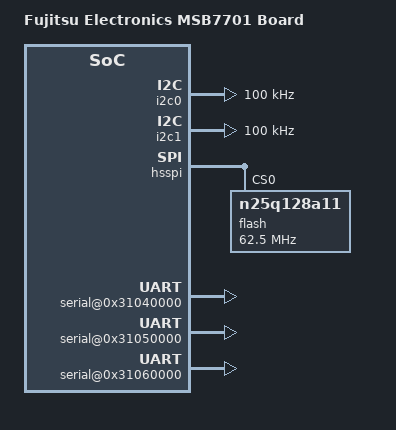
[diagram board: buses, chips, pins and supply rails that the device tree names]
/*
 * Copyright (C) 2016 Fujitsu Electronics Inc.
 *
 * This program is free software; you can redistribute it and/or modify
 * it under the terms of the GNU General Public License version 2 as
 * published by the Free Software Foundation.
 */

/dts-v1/;
#include <dt-bindings/gpio/gpio.h>
#include <dt-bindings/thermal/thermal.h>

#include "mb86s71.dtsi"

// #include "msb7701-mipi.dtsi"
// #include "msb7701-i2s.dtsi"
// #include "msb7701-hsspi.dtsi"


/ {
	model = "Fujitsu Electronics MSB7701 Board";
	compatible = "fujitsu,mb86s71";

	memory {
		device_type = "memory";
		reg = <0 0x80000000 0x80000000>;
	};

	chosen {
		bootargs = "shm_offset=2048 loglevel=4 console=ttyAMA0,115200 root=/dev/mmcblk0p1 rootfstype=ext4 rootwait rw pcie_ports=native ";

		linux,initrd-start = <0x88000000>;
		linux,initrd-end =   <0x88800000>;
		/* Backward compatibility for 2016.03-1-1 */
		/* linux,initrd-start = <0xc0000000>; */
		/* linux,initrd-end =   <0xc0800000>; */
	};

	gpio0: mb86s70_gpio0 {
		compatible = "fujitsu,mb86s70-gpio";
		reg = <0 0x31000000 0x10000>;
		gpio-controller;
		#gpio-cells = <2>;
		clocks = <&clk_alw_5_8>;
		base = <0>;
		resume_function_enabled = <12>, <13> , <14>, <15>, <29>;
		power-domains = <&power 1>;
	};

	gpio1: mb86s70_gpio1 {
		compatible = "fujitsu,mb86s70-gpio";
		reg = <0 0x31010000 0x10000>;
		gpio-controller;
		#gpio-cells = <2>;
		clocks = <&clk_alw_5_8>;
		base = <32>;
		resume_function_enabled = <32>, <33>, <34>, <35>, <36>, <37>, <38>, <39>, <40>, <41>, <42>, <43>, <46>;
		power-domains = <&power 1>;
	};

	i2c0 {
		compatible = "fujitsu,f_i2c";
		reg = <0 0x31200000 0x10000>;
		interrupts = <0 312 0x4>;
		#address-cells = <1>;
		#size-cells = <0>;
		clock-frequency = <100000>;
		clocks = <&clk_alw_5_8>;
		power-domains = <&power 1>;
	};

	i2c1 {
		compatible = "fujitsu,f_i2c";
		reg = <0 0x31210000 0x10000>;
		interrupts = <0 313 0x4>;
		#address-cells = <1>;
		#size-cells = <0>;
		clock-frequency = <100000>;
		clocks = <&clk_alw_5_8>;
		power-domains = <&power 1>;
	};

	hsspi: hsspi.0 {
		compatible = "fujitsu,mb86s7x-hsspi";
		reg = <0 0x30010000 0x1000>,
		      <0 0x48000000 0x1000000>;
		interrupts = <0 361 0x4>,
			     <0 360 0x4>,
			     <0 362 0x4>;
		mode = <1>; // HS_SPI_DIRECT_MODE
		read_operation = <1>; // HS_SPI_NORMAL_READ
		write_operation = <5>; // HS_SPI_NORMAL_WRITE
		active_clk_edges;
		bank_size = <0x01000000>;	// 16MB flash bank
		num_chipselect = <2>;
		addr_width = <3>;
		dma_rx_dreq = <0x800000>; // XDDES_TF_DREQ6 !!! GUESSED
		dma_tx_dreq = <0x900000>; // XDDES_TF_DREQ7 !!! GUESSED
		dma_channel = <0>;
		sync_on = <1>;
		clock = <0>; // HS_SPI_HCLK
		clocks = <&clk_alw_1_8>, <&clk_main_6_8>;
		clock-names = "iHCLK", "iPCLK";
		#address-cells = <1>;
		#size-cells = <0>;

		flash@0 {
			compatible = "n25q128a11";
			spi-max-frequency = <62500000>;
			spi-rx-bus-width = <4>;
			spi-tx-bus-width = <4>;
			reg = <0>;
			spi-cpha;
			spi-cpol;
			#address-cells = <1>;
			#size-cells = <1>;

			spipart0@0 {
				label = "scb-spi-firmware";
				reg = <0 0x200000>;
			};

			spipart1@1 {
				label = "spi-romfs";
				reg = <0x200000 0x100000>;
			};

			spipart2@2 {
				label = "spi-user0";
				reg = <0x300000 0xd00000>;
			};
		};
	};

	/* Enable UART0/1/2 of MSB7701 Board */
	serial@0x31040000 {
		status = "okay";
	};
	serial@0x31050000 {
		status = "okay";
	};
	serial@0x31060000 {
		status = "okay";
	};

	timer0: timer0@31080000 {
		#clock-cells = <1>;
		compatible = "arm,sp804";
		reg = <0 0x31080000 0x10000>;
		interrupts = <0 324 4>,
			     <0 325 4>;
		clocks = <&clk_alw_6_8>;
	};

	timer {
		compatible = "arm,armv7-timer";
		clock-frequency = <125000000>;
		interrupts = <1 13 0xf08>, /* PHYS Secure */
			     <1 14 0xf08>; /* PHYS Non-Secure */
	};
};

/* Video Port Selection */

/*
 These statuses are configured by boot loader automatically if "auto".
 If NOT "auto", the status is never changed by boot loader.
 Don't activate both MIPI-DSI Type and HDMI Type video ports simultaneously.
*/

&videophy0 { /* MIPI-DSI Type Video PHY configuration */
	status = "auto";
	/* "okay":	MIPI-DSI Type video activated */
	/* "disabled":	MIPI-DSI Type video disabled */
	/* "auto":	Selected MIPI-DSI Type or HDMI Type by boot loader */
};

&videophy1 { /* HDMI Type Video PHY configuration */
	status = "auto";
	/* "okay":	HDMI Type video activated */
	/* "disabled":	HDMI Type video disabled */
	/* "auto":	Selected MIPI-DSI Type or HDMI Type by boot loader */
};

&fb0 {
	status = "auto";
	/* "okay":	MIPI-DSI Type video activated */
	/* "disabled":	MIPI-DSI Type video disabled */
	/* "auto":	Selected MIPI-DSI Type or HDMI Type by boot loader */

	/* EVB LCD timings / resolution (mipidsi) */
	mode  = "1280x768x32bpp";
};

&fb1 {
	status = "auto";
	/* "okay":	HDMI Type activated */
	/* "disabled":	HDMI Type disabled */
	/* "auto":	Selected MIPI-DSI Type or HDMI Type by boot loader */
};

&fdbdrm0 {
	status = "auto";
	/* "okay":	Activated it */
	/* "disabled":	Disabled it */
	/* "auto":	Selected MIPI-DSI Type or HDMI Type by boot loader */

	/* Don't remove following two address for boot loader auto video configuration. */
	fb0_addr = <&fb0>;
	fb1_addr = <&fb1>;
	bind = <0>;
	/*  <0>:	To be configured &fb0 for MIPI-DSI Type or &fb1 for HDMI Type by boot loader. */
	/*  <&fb0>:	MIPI-DSI Type video activated with status okay */
	/*  <&fb1>:	HDMI Type video activated with status okay */


};


/* HDMI Type Audio configuration */
/* 
  HDMI Type audio can be used only with HDMI Type video configuration, so it
   cannot be used with MIPI-DSI Type video configuration.
*/


&f_hdmi_audio_dai {
	status = "auto";
	/* "okay":	HDMI Type audio activated */
	/* "disabled":	HDMI Type audio disabled */
	/* "auto":	Selected by boot loader with HDMI Type video */
};

&f_hdmi_codec {
	status = "auto";
	/* "okay":	HDMI Type audio activated */
	/* "disabled":	HDMI Type audio disabled */
	/* "auto":	Selected by boot loader with HDMI Type video */
};

&f_hdmi_audio {
	status = "auto";
	/* "okay":	HDMI Type audio activated */
	/* "disabled":	HDMI Type audio disabled */
	/* "auto":	Selected by boot loader with HDMI Type video */
};

&sdhci2 {
/*	status = "disabled"; */
	enable-fixed-18v;
};

